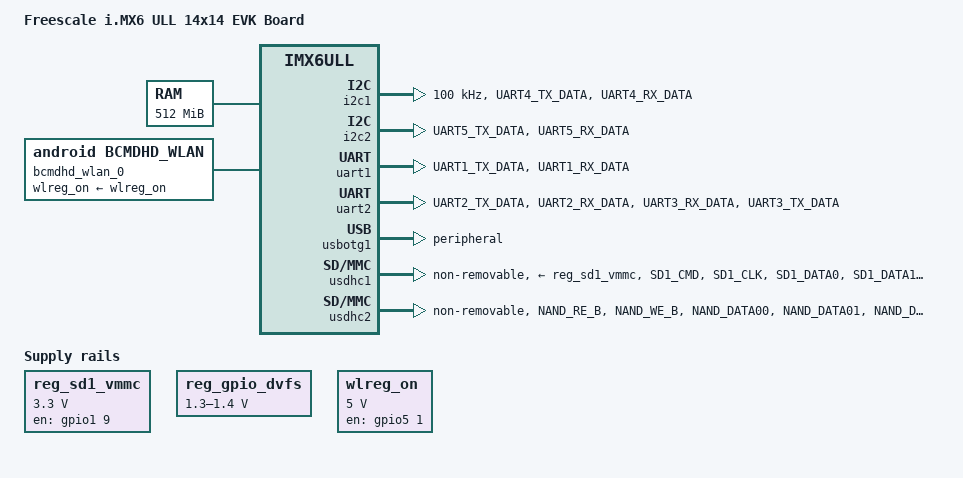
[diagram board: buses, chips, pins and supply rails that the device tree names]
/*
 * Copyright (C) 2016 Freescale Semiconductor, Inc.
 *
 * This program is free software; you can redistribute it and/or modify
 * it under the terms of the GNU General Public License version 2 as
 * published by the Free Software Foundation.
 */

/*
 * Copyright (C) 2016 Freescale Semiconductor, Inc.
 *
 * This program is free software; you can redistribute it and/or modify
 * it under the terms of the GNU General Public License version 2 as
 * published by the Free Software Foundation.
 */

/dts-v1/;

#include <dt-bindings/input/input.h>
#include "imx6ull.dtsi"

/ {
	model = "Freescale i.MX6 ULL 14x14 EVK Board";
	compatible = "fsl,imx6ull-14x14-evk", "fsl,imx6ull";

	chosen {
		stdout-path = &uart1;
	};

	memory {
		reg = <0x80000000 0x20000000>;
	};

	reserved-memory {
		#address-cells = <1>;
		#size-cells = <1>;
		ranges;

		linux,cma {
			compatible = "shared-dma-pool";
			reusable;
			size = <0x14000000>;
			linux,cma-default;
		};
	};

	backlight {
		status = "disabled";
	};

	pxp_v4l2 {
		status = "disabled";
	};

	regulators {
		compatible = "simple-bus";
		#address-cells = <1>;
		#size-cells = <0>;

		reg_sd1_vmmc: regulator@1 {
			compatible = "regulator-fixed";
			regulator-name = "VSD_3V3";
			regulator-min-microvolt = <3300000>;
			regulator-max-microvolt = <3300000>;
			gpio = <&gpio1 9 GPIO_ACTIVE_HIGH>;
			enable-active-high;
		};

		reg_gpio_dvfs: regulator-gpio {
			compatible = "regulator-gpio";
			pinctrl-names = "default";
			pinctrl-0 = <&pinctrl_dvfs>;
			regulator-min-microvolt = <1300000>;
			regulator-max-microvolt = <1400000>;
			regulator-name = "gpio_dvfs";
			regulator-type = "voltage";
			gpios = <&gpio5 3 GPIO_ACTIVE_HIGH>;
			states = <1300000 0x1 1400000 0x0>;
		};
	};
};

&cpu0 {
	arm-supply = <&reg_arm>;
	soc-supply = <&reg_soc>;
	dc-supply = <&reg_gpio_dvfs>;
};

&clks {
	assigned-clocks = <&clks IMX6UL_CLK_PLL4_AUDIO_DIV>;
	assigned-clock-rates = <786432000>;
};

&csi {
	status = "disabled";
};

&fec1 {
	status = "disabled";
};

&fec2 {
	status = "disabled";
};

&flexcan1 {
	status = "disabled";
};

&flexcan2 {
	status = "disabled";
};

&gpc {
	fsl,cpu_pupscr_sw2iso = <0x1>;
	fsl,cpu_pupscr_sw = <0x0>;
	fsl,cpu_pdnscr_iso2sw = <0x1>;
	fsl,cpu_pdnscr_iso = <0x1>;
	fsl,ldo-bypass = <0>; /* DCDC, ldo-enable */
};

&i2c1 {
	clock-frequency = <100000>;
	pinctrl-names = "default";
	pinctrl-0 = <&pinctrl_i2c1>;
	status = "okay";
};

&i2c2 {
	clock_frequency = <100000>;
	pinctrl-names = "default";
	pinctrl-0 = <&pinctrl_i2c2>;
	status = "okay";
};

&iomuxc {
	pinctrl-names = "default";
	pinctrl-0 = <&pinctrl_hog_1>;
	imx6ul-evk {
		pinctrl_hog_1: hoggrp-1 {
			fsl,pins = <
			MX6UL_PAD_UART1_RTS_B__GPIO1_IO19	0x17059 /* SD1 CD */
			MX6UL_PAD_GPIO1_IO05__USDHC1_VSELECT	0x17059 /* SD1 VSELECT */
			MX6UL_PAD_GPIO1_IO09__GPIO1_IO09        0x17059 /* SD1 RESET */
			>;
		};
		pinctrl_i2c1: i2c1grp {
			fsl,pins = <
				MX6UL_PAD_UART4_TX_DATA__I2C1_SCL 0x4001b8b0
				MX6UL_PAD_UART4_RX_DATA__I2C1_SDA 0x4001b8b0
			>;
		};

		pinctrl_i2c2: i2c2grp {
			fsl,pins = <
				MX6UL_PAD_UART5_TX_DATA__I2C2_SCL 0x4001b8b0
				MX6UL_PAD_UART5_RX_DATA__I2C2_SDA 0x4001b8b0
			>;
		};

		pinctrl_uart1: uart1grp {
			fsl,pins = <
				MX6UL_PAD_UART1_TX_DATA__UART1_DCE_TX 0x1b0b1
				MX6UL_PAD_UART1_RX_DATA__UART1_DCE_RX 0x1b0b1
			>;
		};

		pinctrl_uart2: uart2grp {
			fsl,pins = <
				MX6UL_PAD_UART2_TX_DATA__UART2_DCE_TX	0x1b0b1
				MX6UL_PAD_UART2_RX_DATA__UART2_DCE_RX	0x1b0b1
				MX6UL_PAD_UART3_RX_DATA__UART2_DCE_RTS	0x1b0b1
				MX6UL_PAD_UART3_TX_DATA__UART2_DCE_CTS	0x1b0b1
			>;
		};

		pinctrl_uart2dte: uart2dtegrp {
			fsl,pins = <
				MX6UL_PAD_UART2_TX_DATA__UART2_DTE_RX	0x1b0b1
				MX6UL_PAD_UART2_RX_DATA__UART2_DTE_TX	0x1b0b1
				MX6UL_PAD_UART3_RX_DATA__UART2_DTE_CTS	0x1b0b1
				MX6UL_PAD_UART3_TX_DATA__UART2_DTE_RTS	0x1b0b1
			>;
		};

		pinctrl_usdhc1: usdhc1grp {
			fsl,pins = <
				MX6UL_PAD_SD1_CMD__USDHC1_CMD     0x17059
				MX6UL_PAD_SD1_CLK__USDHC1_CLK     0x10071
				MX6UL_PAD_SD1_DATA0__USDHC1_DATA0 0x17059
				MX6UL_PAD_SD1_DATA1__USDHC1_DATA1 0x17059
				MX6UL_PAD_SD1_DATA2__USDHC1_DATA2 0x17059
				MX6UL_PAD_SD1_DATA3__USDHC1_DATA3 0x17059
			>;
		};

		pinctrl_usdhc1_100mhz: usdhc1grp100mhz {
			fsl,pins = <
				MX6UL_PAD_SD1_CMD__USDHC1_CMD     0x170b9
				MX6UL_PAD_SD1_CLK__USDHC1_CLK     0x100b9
				MX6UL_PAD_SD1_DATA0__USDHC1_DATA0 0x170b9
				MX6UL_PAD_SD1_DATA1__USDHC1_DATA1 0x170b9
				MX6UL_PAD_SD1_DATA2__USDHC1_DATA2 0x170b9
				MX6UL_PAD_SD1_DATA3__USDHC1_DATA3 0x170b9
			>;
		};

		pinctrl_usdhc1_200mhz: usdhc1grp200mhz {
			fsl,pins = <
				MX6UL_PAD_SD1_CMD__USDHC1_CMD     0x170f9
				MX6UL_PAD_SD1_CLK__USDHC1_CLK     0x100f9
				MX6UL_PAD_SD1_DATA0__USDHC1_DATA0 0x170f9
				MX6UL_PAD_SD1_DATA1__USDHC1_DATA1 0x170f9
				MX6UL_PAD_SD1_DATA2__USDHC1_DATA2 0x170f9
				MX6UL_PAD_SD1_DATA3__USDHC1_DATA3 0x170f9
			>;
		};

		pinctrl_usdhc2: usdhc2grp {
			fsl,pins = <
				MX6UL_PAD_NAND_RE_B__USDHC2_CLK     0x10069
				MX6UL_PAD_NAND_WE_B__USDHC2_CMD     0x17059
				MX6UL_PAD_NAND_DATA00__USDHC2_DATA0 0x17059
				MX6UL_PAD_NAND_DATA01__USDHC2_DATA1 0x17059
				MX6UL_PAD_NAND_DATA02__USDHC2_DATA2 0x17059
				MX6UL_PAD_NAND_DATA03__USDHC2_DATA3 0x17059
			>;
		};

		pinctrl_usdhc2_8bit: usdhc2grp_8bit {
			fsl,pins = <
				MX6UL_PAD_NAND_RE_B__USDHC2_CLK     0x10069
				MX6UL_PAD_NAND_WE_B__USDHC2_CMD     0x17059
				MX6UL_PAD_NAND_DATA00__USDHC2_DATA0 0x17059
				MX6UL_PAD_NAND_DATA01__USDHC2_DATA1 0x17059
				MX6UL_PAD_NAND_DATA02__USDHC2_DATA2 0x17059
				MX6UL_PAD_NAND_DATA03__USDHC2_DATA3 0x17059
				MX6UL_PAD_NAND_DATA04__USDHC2_DATA4 0x17059
				MX6UL_PAD_NAND_DATA05__USDHC2_DATA5 0x17059
				MX6UL_PAD_NAND_DATA06__USDHC2_DATA6 0x17059
				MX6UL_PAD_NAND_DATA07__USDHC2_DATA7 0x17059
			>;
		};

		pinctrl_usdhc2_8bit_100mhz: usdhc2grp_8bit_100mhz {
			fsl,pins = <
				MX6UL_PAD_NAND_RE_B__USDHC2_CLK     0x100b9
				MX6UL_PAD_NAND_WE_B__USDHC2_CMD     0x170b9
				MX6UL_PAD_NAND_DATA00__USDHC2_DATA0 0x170b9
				MX6UL_PAD_NAND_DATA01__USDHC2_DATA1 0x170b9
				MX6UL_PAD_NAND_DATA02__USDHC2_DATA2 0x170b9
				MX6UL_PAD_NAND_DATA03__USDHC2_DATA3 0x170b9
				MX6UL_PAD_NAND_DATA04__USDHC2_DATA4 0x170b9
				MX6UL_PAD_NAND_DATA05__USDHC2_DATA5 0x170b9
				MX6UL_PAD_NAND_DATA06__USDHC2_DATA6 0x170b9
				MX6UL_PAD_NAND_DATA07__USDHC2_DATA7 0x170b9
			>;
		};

		pinctrl_usdhc2_8bit_200mhz: usdhc2grp_8bit_200mhz {
			fsl,pins = <
				MX6UL_PAD_NAND_RE_B__USDHC2_CLK     0x100f9
				MX6UL_PAD_NAND_WE_B__USDHC2_CMD     0x170f9
				MX6UL_PAD_NAND_DATA00__USDHC2_DATA0 0x170f9
				MX6UL_PAD_NAND_DATA01__USDHC2_DATA1 0x170f9
				MX6UL_PAD_NAND_DATA02__USDHC2_DATA2 0x170f9
				MX6UL_PAD_NAND_DATA03__USDHC2_DATA3 0x170f9
				MX6UL_PAD_NAND_DATA04__USDHC2_DATA4 0x170f9
				MX6UL_PAD_NAND_DATA05__USDHC2_DATA5 0x170f9
				MX6UL_PAD_NAND_DATA06__USDHC2_DATA6 0x170f9
				MX6UL_PAD_NAND_DATA07__USDHC2_DATA7 0x170f9
			>;
		};

	};
};

&iomuxc_snvs {
	pinctrl-names = "default_snvs";
        pinctrl-0 = <&pinctrl_hog_2>;
        imx6ul-evk {
		pinctrl_hog_2: hoggrp-2 {
                        fsl,pins = <
                                MX6ULL_PAD_SNVS_TAMPER0__GPIO5_IO00      0x80000000
                        >;
                };

		pinctrl_dvfs: dvfsgrp {
                        fsl,pins = <
                                MX6ULL_PAD_SNVS_TAMPER3__GPIO5_IO03      0x79
                        >;
                };
		};
};


&lcdif {
	status = "disabled";
};

&pwm1 {
	status = "disabled";
};

&pxp {
	status = "disabled";
};

&qspi {
	status = "disabled";
};

&sai2 {
	status = "disabled";
};

&tsc {
	status = "disabled";
};

&uart1 {
	pinctrl-names = "default";
	pinctrl-0 = <&pinctrl_uart1>;
	status = "okay";
};

&uart2 {
	pinctrl-names = "default";
	pinctrl-0 = <&pinctrl_uart2>;
	fsl,uart-has-rtscts;
	/* for DTE mode, add below change */
	/* fsl,dte-mode; */
	/* pinctrl-0 = <&pinctrl_uart2dte>; */
	status = "okay";
};

&usbotg1 {
	dr_mode = "peripheral";
	status = "okay";
};

&usbotg2 {
	status = "disabled";
};

&usbphy1 {
	tx-d-cal = <0x5>;
};

&usbphy2 {
	tx-d-cal = <0x5>;
};

&usdhc1 {
	pinctrl-names = "default", "state_100mhz", "state_200mhz";
	pinctrl-0 = <&pinctrl_usdhc1>;
	pinctrl-1 = <&pinctrl_usdhc1_100mhz>;
	pinctrl-2 = <&pinctrl_usdhc1_200mhz>;
	cd-gpios = <&gpio1 19 GPIO_ACTIVE_LOW>;
	keep-power-in-suspend;
	enable-sdio-wakeup;
	vmmc-supply = <&reg_sd1_vmmc>;
	status = "okay";
};

&usdhc2 {
	pinctrl-names = "default";
	pinctrl-0 = <&pinctrl_usdhc2>;
	non-removable;
	status = "okay";
};

&wdog1 {
	fsl,wdog_b;
};


/ {
	regulators {
		wlreg_on: fixedregulator@100 {
			compatible = "regulator-fixed";
			regulator-min-microvolt = <5000000>;
			regulator-max-microvolt = <5000000>;
			regulator-name = "wlreg_on";
			gpio = <&gpio5 1 0>;
			startup-delay-us = <100>;
			enable-active-high;
		};
	};
	
	bcmdhd_wlan_0: bcmdhd_wlan@0 {
		compatible = "android,bcmdhd_wlan";
		wlreg_on-supply = <&wlreg_on>;
	};
};

&iomuxc {
	imx6ul-evk-murata-v2 {
		pinctrl_wifi: wifigrp {
			fsl,pins = <
			MX6UL_PAD_SNVS_TAMPER1__GPIO5_IO01 0x03029
			>;
		};
	};
};

&reg_sd1_vmmc {
	regulator-always-on;
};

&usdhc1 {
	pinctrl-names = "default";
	pinctrl-0 = <&pinctrl_usdhc1 &pinctrl_wifi>;
	no-1-8-v;
	non-removable;
	cd-post;
	pm-ignore-notify;
	wifi-host; /* add hook for SD card detect mechanism for BCMDHD driver */
};
